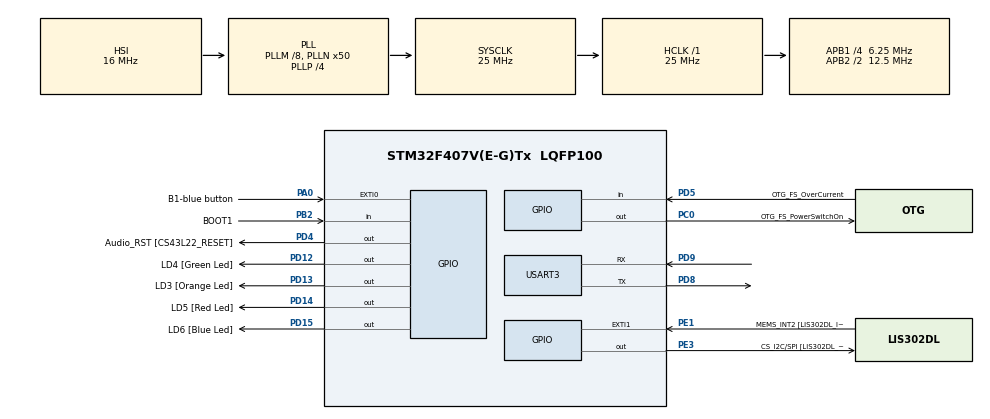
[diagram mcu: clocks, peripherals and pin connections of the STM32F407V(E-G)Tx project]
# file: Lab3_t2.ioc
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FREERTOS.Mutexes01=LedMutex,Dynamic,NULL,Available
FREERTOS.Queues01=queueLED,1,uint32_t,0,Dynamic,NULL,NULL
FREERTOS.Tasks01=defaultTask,24,128,StartDefaultTask,Default,NULL,Dynamic,NULL,NULL;threadLED,8,128,StartTask02,Default,NULL,Dynamic,NULL,NULL
FREERTOS.configUSE_NEWLIB_REENTRANT=1
Mcu.Family=STM32F4
Mcu.Name=STM32F407V(E-G)Tx
Mcu.Package=LQFP100
NVIC.EXTI0_IRQn=true\:5\:0\:false\:false\:true\:true\:true\:true\:true
NVIC.PriorityGroup=NVIC_PRIORITYGROUP_4
NVIC.TIM1_UP_TIM10_IRQn=true\:15\:0\:false\:false\:true\:false\:false\:true\:true
NVIC.TimeBase=TIM1_UP_TIM10_IRQn
NVIC.TimeBaseIP=TIM1
PA0-WKUP.GPIO_Label=B1-blue button
PA0-WKUP.GPIO_ModeDefaultEXTI=GPIO_MODE_IT_RISING
PA0-WKUP.Signal=GPXTI0
PA10.GPIO_Label=OTG_FS_ID
PA10.GPIO_Mode=GPIO_MODE_AF_PP
PA10.GPIO_PuPd=GPIO_NOPULL
PA10.GPIO_Speed=GPIO_SPEED_FREQ_LOW
PA10.Signal=USB_OTG_FS_ID
PA11.GPIO_Label=OTG_FS_DM
PA11.GPIO_Mode=GPIO_MODE_AF_PP
PA11.GPIO_PuPd=GPIO_NOPULL
PA11.GPIO_Speed=GPIO_SPEED_FREQ_LOW
PA11.Signal=USB_OTG_FS_DM
PA12.GPIO_Label=OTG_FS_DP
PA12.GPIO_Mode=GPIO_MODE_AF_PP
PA12.GPIO_PuPd=GPIO_NOPULL
PA12.GPIO_Speed=GPIO_SPEED_FREQ_LOW
PA12.Signal=USB_OTG_FS_DP
PA13.GPIO_Label=SWDIO
PA13.Signal=SYS_JTMS-SWDIO
PA14.GPIO_Label=SWCLK
PA14.Signal=SYS_JTCK-SWCLK
PA4.GPIO_Label=I2S3_WS [CS43L22_LRCK]
PA4.GPIO_Mode=GPIO_MODE_AF_PP
PA4.GPIO_PuPd=GPIO_NOPULL
PA4.GPIO_Speed=GPIO_SPEED_FREQ_LOW
PA4.Signal=I2S3_WS
PA5.GPIO_Label=SPI1_SCK [LIS302DL_SCL/SPC]
PA5.GPIO_Mode=GPIO_MODE_AF_PP
PA5.GPIO_PuPd=GPIO_NOPULL
PA5.GPIO_Speed=GPIO_SPEED_FREQ_LOW
PA5.Signal=SPI1_SCK
PA6.GPIO_Label=SPI1_MISO [LIS302DL_SDO]
PA6.GPIO_Mode=GPIO_MODE_AF_PP
PA6.GPIO_PuPd=GPIO_NOPULL
PA6.GPIO_Speed=GPIO_SPEED_FREQ_LOW
PA6.Signal=SPI1_MISO
PA7.GPIO_Label=SPI1_MOSI [LIS302DL_SDA/SDI/SDO]
PA7.GPIO_Mode=GPIO_MODE_AF_PP
PA7.GPIO_PuPd=GPIO_NOPULL
PA7.GPIO_Speed=GPIO_SPEED_FREQ_LOW
PA7.Signal=SPI1_MOSI
PA9.GPIO_Label=VBUS_FS
PA9.GPIO_Mode=GPIO_MODE_INPUT
PA9.GPIO_PuPd=GPIO_NOPULL
PA9.Signal=USB_OTG_FS_VBUS
PB10.GPIO_Label=CLK_IN [MP45DT02_CLK]
PB10.GPIO_Mode=GPIO_MODE_AF_PP
PB10.GPIO_PuPd=GPIO_NOPULL
PB10.GPIO_Speed=GPIO_SPEED_FREQ_LOW
PB10.Signal=I2S2_CK
PB2.GPIO_Label=BOOT1
PB2.GPIO_Mode=GPIO_MODE_INPUT
PB2.GPIO_PuPd=GPIO_NOPULL
PB2.Signal=GPIO_Input
PB3.GPIO_Label=SWO
PB3.Signal=SYS_JTDO-SWO
PB6.GPIO_Label=Audio_SCL [CS43L22_SCL]
PB6.GPIO_Mode=GPIO_MODE_AF_OD
PB6.GPIO_PuPd=GPIO_NOPULL
PB6.GPIO_Speed=GPIO_SPEED_FREQ_LOW
PB6.Signal=I2C1_SCL
PB9.GPIO_Label=Audio_SDA [CS43L22_SDA]
PB9.GPIO_Mode=GPIO_MODE_AF_OD
PB9.GPIO_PuPd=GPIO_NOPULL
PB9.GPIO_Speed=GPIO_SPEED_FREQ_LOW
PB9.Signal=I2C1_SDA
PC0.GPIO_Label=OTG_FS_PowerSwitchOn
PC0.GPIO_PuPd=GPIO_NOPULL
PC0.GPIO_Speed=GPIO_SPEED_FREQ_LOW
PC0.PinState=GPIO_PIN_SET
PC0.Signal=GPIO_Output
PC10.GPIO_Label=I2S3_SCK [CS43L22_SCLK]
PC10.GPIO_Mode=GPIO_MODE_AF_PP
PC10.GPIO_PuPd=GPIO_NOPULL
PC10.GPIO_Speed=GPIO_SPEED_FREQ_LOW
PC10.Signal=I2S3_CK
PC12.GPIO_Label=I2S3_SD [CS43L22_SDIN]
PC12.GPIO_Mode=GPIO_MODE_AF_PP
PC12.GPIO_PuPd=GPIO_NOPULL
PC12.GPIO_Speed=GPIO_SPEED_FREQ_LOW
PC12.Signal=I2S3_SD
PC14-OSC32_IN.GPIO_Label=PC14-OSC32_IN
PC14-OSC32_IN.Signal=RCC_OSC32_IN
PC15-OSC32_OUT.GPIO_Label=PC15-OSC32_OUT
PC15-OSC32_OUT.Signal=RCC_OSC32_OUT
PC3.GPIO_Label=PDM_OUT [MP45DT02_DOUT]
PC3.GPIO_Mode=GPIO_MODE_AF_PP
PC3.GPIO_PuPd=GPIO_NOPULL
PC3.GPIO_Speed=GPIO_SPEED_FREQ_LOW
PC3.Signal=I2S2_SD
PC7.GPIO_Label=I2S3_MCK [CS43L22_MCLK]
PC7.GPIO_Mode=GPIO_MODE_AF_PP
PC7.GPIO_PuPd=GPIO_NOPULL
PC7.GPIO_Speed=GPIO_SPEED_FREQ_LOW
PC7.Signal=I2S3_MCK
PD12.GPIO_Label=LD4 [Green Led]
PD12.GPIO_PuPd=GPIO_NOPULL
PD12.GPIO_Speed=GPIO_SPEED_FREQ_LOW
PD12.Signal=GPIO_Output
PD13.GPIO_Label=LD3 [Orange Led]
PD13.GPIO_PuPd=GPIO_NOPULL
PD13.GPIO_Speed=GPIO_SPEED_FREQ_LOW
PD13.Signal=GPIO_Output
PD14.GPIO_Label=LD5 [Red Led]
PD14.GPIO_PuPd=GPIO_NOPULL
PD14.GPIO_Speed=GPIO_SPEED_FREQ_LOW
PD14.Signal=GPIO_Output
PD15.GPIO_Label=LD6 [Blue Led]
PD15.GPIO_PuPd=GPIO_NOPULL
PD15.GPIO_Speed=GPIO_SPEED_FREQ_LOW
PD15.Signal=GPIO_Output
PD4.GPIO_Label=Audio_RST [CS43L22_RESET]
PD4.GPIO_PuPd=GPIO_NOPULL
PD4.GPIO_Speed=GPIO_SPEED_FREQ_LOW
PD4.Signal=GPIO_Output
PD5.GPIO_Label=OTG_FS_OverCurrent
PD5.GPIO_Mode=GPIO_MODE_INPUT
PD5.GPIO_PuPd=GPIO_NOPULL
PD5.Signal=GPIO_Input
PD8.Mode=Asynchronous
PD8.Signal=USART3_TX
PD9.Mode=Asynchronous
PD9.Signal=USART3_RX
PE1.GPIO_Label=MEMS_INT2 [LIS302DL_INT2]
PE1.GPIO_ModeDefaultEXTI=GPIO_MODE_EVT_RISING
PE1.GPIO_PuPd=GPIO_NOPULL
PE1.Signal=GPXTI1
PE3.GPIO_Label=CS_I2C/SPI [LIS302DL_CS_I2C/SPI]
PE3.GPIO_PuPd=GPIO_NOPULL
PE3.GPIO_Speed=GPIO_SPEED_FREQ_LOW
PE3.Signal=GPIO_Output
PH0-OSC_IN.GPIO_Label=PH0-OSC_IN
PH0-OSC_IN.Signal=RCC_OSC_IN
PH1-OSC_OUT.GPIO_Label=PH1-OSC_OUT
PH1-OSC_OUT.Signal=RCC_OSC_OUT
ProjectManager.HeapSize=0x200
ProjectManager.StackSize=0x400
ProjectManager.TargetToolchain=STM32CubeIDE
RCC.48MHZClocksFreq_Value=14285714.285714285
RCC.AHBFreq_Value=25000000
RCC.APB1CLKDivider=RCC_HCLK_DIV4
RCC.APB1Freq_Value=6250000
RCC.APB1TimFreq_Value=12500000
RCC.APB2CLKDivider=RCC_HCLK_DIV2
RCC.APB2Freq_Value=12500000
RCC.APB2TimFreq_Value=25000000
RCC.CortexFreq_Value=25000000
RCC.HCLKFreq_Value=25000000
RCC.HSE_VALUE=8000000
RCC.HSI_VALUE=16000000
RCC.LSE_VALUE=32768
RCC.PLLM=8
RCC.PLLN=50
RCC.PLLP=RCC_PLLP_DIV4
RCC.PLLQ=7
RCC.SYSCLKFreq_VALUE=25000000
RCC.SYSCLKSource=RCC_SYSCLKSOURCE_PLLCLK
RCC.VCOOutputFreq_Value=100000000
USART3.VirtualMode=VM_ASYNC
VP_FREERTOS_VS_CMSIS_V2.Mode=CMSIS_V2
VP_SYS_VS_tim1.Mode=TIM1
board=STM32F407G-DISC1

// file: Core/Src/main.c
/* USER CODE BEGIN Header */
/**
  ******************************************************************************
  * @file           : main.c
  * @brief          : Main program body
  ******************************************************************************
  * @attention
  *
  * Copyright (c) 2025 STMicroelectronics.
  * All rights reserved.
  *
  * This software is licensed under terms that can be found in the LICENSE file
  * in the root directory of this software component.
  * If no LICENSE file comes with this software, it is provided AS-IS.
  *
  ******************************************************************************
  */
/* USER CODE END Header */
#include "main.h"
#include "cmsis_os.h"

/* USER CODE BEGIN Includes */
#include <stdio.h>
#include <string.h>

/* USER CODE END Includes */

/* USER CODE BEGIN PD */
#define CMD_MAX_LEN 32

/* USER CODE END PD */

UART_HandleTypeDef huart3;

/* Definitions for defaultTask */
osThreadId_t defaultTaskHandle;
const osThreadAttr_t defaultTask_attributes = {
  .name = "defaultTask",
  .stack_size = 128 * 4,
  .priority = (osPriority_t) osPriorityNormal,
};
/* Definitions for threadLED */
osThreadId_t threadLEDHandle;
const osThreadAttr_t threadLED_attributes = {
  .name = "threadLED",
  .stack_size = 128 * 4,
  .priority = (osPriority_t) osPriorityLow,
};
/* Definitions for queueLED */
osMessageQueueId_t queueLEDHandle;
const osMessageQueueAttr_t queueLED_attributes = {
  .name = "queueLED"
};
/* Definitions for LedMutex */
osMutexId_t LedMutexHandle;
const osMutexAttr_t LedMutex_attributes = {
  .name = "LedMutex"
};
/* USER CODE BEGIN PV */
uint32_t lastPressTime = 0;
uint32_t pressInterval = 0;

/* USER CODE END PV */

void SystemClock_Config(void);
static void MX_GPIO_Init(void);
static void MX_USART3_UART_Init(void);
void StartDefaultTask(void *argument);
void StartTask02(void *argument);

/* USER CODE BEGIN 0 */
int __io_putchar(int ch)
{
	HAL_UART_Transmit(&huart3, (uint8_t *)&ch, 1, 200);
	return ch;
}

/* USER CODE END 0 */

int main(void)
{

  /* MCU Configuration--------------------------------------------------------*/

  /* Reset of all peripherals, Initializes the Flash interface and the Systick. */
  HAL_Init();

  /* Configure the system clock */
  SystemClock_Config();

  /* Initialize all configured peripherals */
  MX_GPIO_Init();
  MX_USART3_UART_Init();

  /* Init scheduler */
  osKernelInitialize();
  /* Create the mutex(es) */
  /* creation of LedMutex */
  LedMutexHandle = osMutexNew(&LedMutex_attributes);

  /* Create the queue(s) */
  /* creation of queueLED */
  queueLEDHandle = osMessageQueueNew (1, sizeof(uint32_t), &queueLED_attributes);

  /* Create the thread(s) */
  /* creation of defaultTask */
  defaultTaskHandle = osThreadNew(StartDefaultTask, NULL, &defaultTask_attributes);

  /* creation of threadLED */
  threadLEDHandle = osThreadNew(StartTask02, NULL, &threadLED_attributes);

  /* Start scheduler */
  osKernelStart();

  /* We should never get here as control is now taken by the scheduler */

  /* Infinite loop */
  while (1)
  {

  }
}

void SystemClock_Config(void)
{
  RCC_OscInitTypeDef RCC_OscInitStruct = {0};
  RCC_ClkInitTypeDef RCC_ClkInitStruct = {0};

  /** Configure the main internal regulator output voltage
  */
  __HAL_RCC_PWR_CLK_ENABLE();
  __HAL_PWR_VOLTAGESCALING_CONFIG(PWR_REGULATOR_VOLTAGE_SCALE1);

  /** Initializes the RCC Oscillators according to the specified parameters
  * in the RCC_OscInitTypeDef structure.
  */
  RCC_OscInitStruct.OscillatorType = RCC_OSCILLATORTYPE_HSI;
  RCC_OscInitStruct.HSIState = RCC_HSI_ON;
  RCC_OscInitStruct.HSICalibrationValue = RCC_HSICALIBRATION_DEFAULT;
  RCC_OscInitStruct.PLL.PLLState = RCC_PLL_ON;
  RCC_OscInitStruct.PLL.PLLSource = RCC_PLLSOURCE_HSI;
  RCC_OscInitStruct.PLL.PLLM = 8;
  RCC_OscInitStruct.PLL.PLLN = 50;
  RCC_OscInitStruct.PLL.PLLP = RCC_PLLP_DIV4;
  RCC_OscInitStruct.PLL.PLLQ = 7;
  if (HAL_RCC_OscConfig(&RCC_OscInitStruct) != HAL_OK)
  {
    Error_Handler();
  }

  /** Initializes the CPU, AHB and APB buses clocks
  */
  RCC_ClkInitStruct.ClockType = RCC_CLOCKTYPE_HCLK|RCC_CLOCKTYPE_SYSCLK
                              |RCC_CLOCKTYPE_PCLK1|RCC_CLOCKTYPE_PCLK2;
  RCC_ClkInitStruct.SYSCLKSource = RCC_SYSCLKSOURCE_PLLCLK;
  RCC_ClkInitStruct.AHBCLKDivider = RCC_SYSCLK_DIV1;
  RCC_ClkInitStruct.APB1CLKDivider = RCC_HCLK_DIV4;
  RCC_ClkInitStruct.APB2CLKDivider = RCC_HCLK_DIV2;

  if (HAL_RCC_ClockConfig(&RCC_ClkInitStruct, FLASH_LATENCY_0) != HAL_OK)
  {
    Error_Handler();
  }
}

static void MX_USART3_UART_Init(void)
{

  huart3.Instance = USART3;
  huart3.Init.BaudRate = 115200;
  huart3.Init.WordLength = UART_WORDLENGTH_8B;
  huart3.Init.StopBits = UART_STOPBITS_1;
  huart3.Init.Parity = UART_PARITY_NONE;
  huart3.Init.Mode = UART_MODE_TX_RX;
  huart3.Init.HwFlowCtl = UART_HWCONTROL_NONE;
  huart3.Init.OverSampling = UART_OVERSAMPLING_16;
  if (HAL_UART_Init(&huart3) != HAL_OK)
  {
    Error_Handler();
  }

}

static void MX_GPIO_Init(void)
{
  GPIO_InitTypeDef GPIO_InitStruct = {0};

  /* GPIO Ports Clock Enable */
  __HAL_RCC_GPIOE_CLK_ENABLE();
  __HAL_RCC_GPIOC_CLK_ENABLE();
  __HAL_RCC_GPIOH_CLK_ENABLE();
  __HAL_RCC_GPIOA_CLK_ENABLE();
  __HAL_RCC_GPIOB_CLK_ENABLE();
  __HAL_RCC_GPIOD_CLK_ENABLE();

  /*Configure GPIO pin Output Level */
  HAL_GPIO_WritePin(CS_I2C_SPI_GPIO_Port, CS_I2C_SPI_Pin, GPIO_PIN_RESET);

  /*Configure GPIO pin Output Level */
  HAL_GPIO_WritePin(OTG_FS_PowerSwitchOn_GPIO_Port, OTG_FS_PowerSwitchOn_Pin, GPIO_PIN_SET);

  /*Configure GPIO pin Output Level */
  HAL_GPIO_WritePin(GPIOD, LD4_Pin|LD3_Pin|LD5_Pin|LD6_Pin
                          |Audio_RST_Pin, GPIO_PIN_RESET);

  /*Configure GPIO pin : CS_I2C_SPI_Pin */
  GPIO_InitStruct.Pin = CS_I2C_SPI_Pin;
  GPIO_InitStruct.Mode = GPIO_MODE_OUTPUT_PP;
  GPIO_InitStruct.Pull = GPIO_NOPULL;
  GPIO_InitStruct.Speed = GPIO_SPEED_FREQ_LOW;
  HAL_GPIO_Init(CS_I2C_SPI_GPIO_Port, &GPIO_InitStruct);

  /*Configure GPIO pin : OTG_FS_PowerSwitchOn_Pin */
  GPIO_InitStruct.Pin = OTG_FS_PowerSwitchOn_Pin;
  GPIO_InitStruct.Mode = GPIO_MODE_OUTPUT_PP;
  GPIO_InitStruct.Pull = GPIO_NOPULL;
  GPIO_InitStruct.Speed = GPIO_SPEED_FREQ_LOW;
  HAL_GPIO_Init(OTG_FS_PowerSwitchOn_GPIO_Port, &GPIO_InitStruct);

  /*Configure GPIO pin : PDM_OUT_Pin */
  GPIO_InitStruct.Pin = PDM_OUT_Pin;
  GPIO_InitStruct.Mode = GPIO_MODE_AF_PP;
  GPIO_InitStruct.Pull = GPIO_NOPULL;
  GPIO_InitStruct.Speed = GPIO_SPEED_FREQ_LOW;
  GPIO_InitStruct.Alternate = GPIO_AF5_SPI2;
  HAL_GPIO_Init(PDM_OUT_GPIO_Port, &GPIO_InitStruct);

  /*Configure GPIO pin : B1_blue_button_Pin */
  GPIO_InitStruct.Pin = B1_blue_button_Pin;
  GPIO_InitStruct.Mode = GPIO_MODE_IT_RISING;
  GPIO_InitStruct.Pull = GPIO_NOPULL;
  HAL_GPIO_Init(B1_blue_button_GPIO_Port, &GPIO_InitStruct);

  /*Configure GPIO pin : I2S3_WS_Pin */
  GPIO_InitStruct.Pin = I2S3_WS_Pin;
  GPIO_InitStruct.Mode = GPIO_MODE_AF_PP;
  GPIO_InitStruct.Pull = GPIO_NOPULL;
  GPIO_InitStruct.Speed = GPIO_SPEED_FREQ_LOW;
  GPIO_InitStruct.Alternate = GPIO_AF6_SPI3;
  HAL_GPIO_Init(I2S3_WS_GPIO_Port, &GPIO_InitStruct);

  /*Configure GPIO pins : SPI1_SCK_Pin SPI1_MISO_Pin SPI1_MOSI_Pin */
  GPIO_InitStruct.Pin = SPI1_SCK_Pin|SPI1_MISO_Pin|SPI1_MOSI_Pin;
  GPIO_InitStruct.Mode = GPIO_MODE_AF_PP;
  GPIO_InitStruct.Pull = GPIO_NOPULL;
  GPIO_InitStruct.Speed = GPIO_SPEED_FREQ_LOW;
  GPIO_InitStruct.Alternate = GPIO_AF5_SPI1;
  HAL_GPIO_Init(GPIOA, &GPIO_InitStruct);

  /*Configure GPIO pin : BOOT1_Pin */
  GPIO_InitStruct.Pin = BOOT1_Pin;
  GPIO_InitStruct.Mode = GPIO_MODE_INPUT;
  GPIO_InitStruct.Pull = GPIO_NOPULL;
  HAL_GPIO_Init(BOOT1_GPIO_Port, &GPIO_InitStruct);

  /*Configure GPIO pin : CLK_IN_Pin */
  GPIO_InitStruct.Pin = CLK_IN_Pin;
  GPIO_InitStruct.Mode = GPIO_MODE_AF_PP;
  GPIO_InitStruct.Pull = GPIO_NOPULL;
  GPIO_InitStruct.Speed = GPIO_SPEED_FREQ_LOW;
  GPIO_InitStruct.Alternate = GPIO_AF5_SPI2;
  HAL_GPIO_Init(CLK_IN_GPIO_Port, &GPIO_InitStruct);

  /*Configure GPIO pins : LD4_Pin LD3_Pin LD5_Pin LD6_Pin
                           Audio_RST_Pin */
  GPIO_InitStruct.Pin = LD4_Pin|LD3_Pin|LD5_Pin|LD6_Pin
                          |Audio_RST_Pin;
  GPIO_InitStruct.Mode = GPIO_MODE_OUTPUT_PP;
  GPIO_InitStruct.Pull = GPIO_NOPULL;
  GPIO_InitStruct.Speed = GPIO_SPEED_FREQ_LOW;
  HAL_GPIO_Init(GPIOD, &GPIO_InitStruct);

  /*Configure GPIO pins : I2S3_MCK_Pin I2S3_SCK_Pin I2S3_SD_Pin */
  GPIO_InitStruct.Pin = I2S3_MCK_Pin|I2S3_SCK_Pin|I2S3_SD_Pin;
  GPIO_InitStruct.Mode = GPIO_MODE_AF_PP;
  GPIO_InitStruct.Pull = GPIO_NOPULL;
  GPIO_InitStruct.Speed = GPIO_SPEED_FREQ_LOW;
  GPIO_InitStruct.Alternate = GPIO_AF6_SPI3;
  HAL_GPIO_Init(GPIOC, &GPIO_InitStruct);

  /*Configure GPIO pin : VBUS_FS_Pin */
  GPIO_InitStruct.Pin = VBUS_FS_Pin;
  GPIO_InitStruct.Mode = GPIO_MODE_INPUT;
  GPIO_InitStruct.Pull = GPIO_NOPULL;
  HAL_GPIO_Init(VBUS_FS_GPIO_Port, &GPIO_InitStruct);

  /*Configure GPIO pins : OTG_FS_ID_Pin OTG_FS_DM_Pin OTG_FS_DP_Pin */
  GPIO_InitStruct.Pin = OTG_FS_ID_Pin|OTG_FS_DM_Pin|OTG_FS_DP_Pin;
  GPIO_InitStruct.Mode = GPIO_MODE_AF_PP;
  GPIO_InitStruct.Pull = GPIO_NOPULL;
  GPIO_InitStruct.Speed = GPIO_SPEED_FREQ_LOW;
  GPIO_InitStruct.Alternate = GPIO_AF10_OTG_FS;
  HAL_GPIO_Init(GPIOA, &GPIO_InitStruct);

  /*Configure GPIO pin : OTG_FS_OverCurrent_Pin */
  GPIO_InitStruct.Pin = OTG_FS_OverCurrent_Pin;
  GPIO_InitStruct.Mode = GPIO_MODE_INPUT;
  GPIO_InitStruct.Pull = GPIO_NOPULL;
  HAL_GPIO_Init(OTG_FS_OverCurrent_GPIO_Port, &GPIO_InitStruct);

  /*Configure GPIO pins : Audio_SCL_Pin Audio_SDA_Pin */
  GPIO_InitStruct.Pin = Audio_SCL_Pin|Audio_SDA_Pin;
  GPIO_InitStruct.Mode = GPIO_MODE_AF_OD;
  GPIO_InitStruct.Pull = GPIO_NOPULL;
  GPIO_InitStruct.Speed = GPIO_SPEED_FREQ_LOW;
  GPIO_InitStruct.Alternate = GPIO_AF4_I2C1;
  HAL_GPIO_Init(GPIOB, &GPIO_InitStruct);

  /*Configure GPIO pin : MEMS_INT2_Pin */
  GPIO_InitStruct.Pin = MEMS_INT2_Pin;
  GPIO_InitStruct.Mode = GPIO_MODE_EVT_RISING;
  GPIO_InitStruct.Pull = GPIO_NOPULL;
  HAL_GPIO_Init(MEMS_INT2_GPIO_Port, &GPIO_InitStruct);

  /* EXTI interrupt init*/
  HAL_NVIC_SetPriority(EXTI0_IRQn, 5, 0);
  HAL_NVIC_EnableIRQ(EXTI0_IRQn);

}

/* USER CODE BEGIN 4 */
void HAL_GPIO_EXTI_Callback(uint16_t GPIO_Pin)
{
	if (GPIO_Pin == GPIO_PIN_0)
	{
		uint32_t currentTime = HAL_GetTick(); // milliseconds since startup
		// Calculate time since last press
		if ((currentTime - lastPressTime) > 500)
		{
			pressInterval = currentTime - lastPressTime;
			// Store current time
			lastPressTime = currentTime;
		}
	}
}

/* USER CODE END 4 */

void StartDefaultTask(void *argument)
{
  /* USER CODE BEGIN 5 */
	uint32_t pi;
  /* Infinite loop */
  for(;;)
  {
	  if (pressInterval > 10)
	  {
		  pi = pressInterval;
		  // printf("DT: press interval %8d\r\n", (int)pi);
		  osMessageQueuePut(queueLEDHandle, (const void*)&pi, 0, 1000U);
	  }
	  //osDelay(1000);
  }
  /* USER CODE END 5 */
}

void StartTask02(void *argument)
{
  /* USER CODE BEGIN StartTask02 */
	osStatus_t status;
	uint32_t pi = 0;

	for(;;)
	{
		status = osMessageQueueGet(queueLEDHandle, &pi, 0, osWaitForever);
		if (status == osOK)
		{
			printf("LE: Press interval %8d\r\n", (int)pi);
			if (pi < 2000)
			{
				HAL_GPIO_WritePin(GPIOD, GPIO_PIN_12, GPIO_PIN_SET);
				HAL_GPIO_WritePin(GPIOD, GPIO_PIN_13, GPIO_PIN_RESET);
				HAL_GPIO_WritePin(GPIOD, GPIO_PIN_14, GPIO_PIN_RESET);
				HAL_GPIO_WritePin(GPIOD, GPIO_PIN_15, GPIO_PIN_RESET);
			}
			else if (pi < 4000)
			{
				HAL_GPIO_WritePin(GPIOD, GPIO_PIN_13, GPIO_PIN_SET);
				HAL_GPIO_WritePin(GPIOD, GPIO_PIN_12, GPIO_PIN_RESET);
				HAL_GPIO_WritePin(GPIOD, GPIO_PIN_14, GPIO_PIN_RESET);
				HAL_GPIO_WritePin(GPIOD, GPIO_PIN_15, GPIO_PIN_RESET);
			}
			else if (pi < 6000)
			{
				HAL_GPIO_WritePin(GPIOD, GPIO_PIN_14, GPIO_PIN_SET);
				HAL_GPIO_WritePin(GPIOD, GPIO_PIN_12, GPIO_PIN_RESET);
				HAL_GPIO_WritePin(GPIOD, GPIO_PIN_13, GPIO_PIN_RESET);
				HAL_GPIO_WritePin(GPIOD, GPIO_PIN_15, GPIO_PIN_RESET);
			}
			else if (pi < 8000)
			{
				HAL_GPIO_WritePin(GPIOD, GPIO_PIN_15, GPIO_PIN_SET);
				HAL_GPIO_WritePin(GPIOD, GPIO_PIN_12, GPIO_PIN_RESET);
				HAL_GPIO_WritePin(GPIOD, GPIO_PIN_13, GPIO_PIN_RESET);
				HAL_GPIO_WritePin(GPIOD, GPIO_PIN_14, GPIO_PIN_RESET);
			}
			else
			{
				HAL_GPIO_WritePin(GPIOD, GPIO_PIN_12, GPIO_PIN_SET);
				HAL_GPIO_WritePin(GPIOD, GPIO_PIN_13, GPIO_PIN_SET);
				HAL_GPIO_WritePin(GPIOD, GPIO_PIN_14, GPIO_PIN_SET);
				HAL_GPIO_WritePin(GPIOD, GPIO_PIN_15, GPIO_PIN_SET);
			}
		osDelay(1000);
		}
	}
	osDelay(1);
  /* USER CODE END StartTask02 */
}

void HAL_TIM_PeriodElapsedCallback(TIM_HandleTypeDef *htim)
{
  if (htim->Instance == TIM1)
  {
    HAL_IncTick();
  }
}

void Error_Handler(void)
{
  __disable_irq();
  while (1)
  {
  }
}
